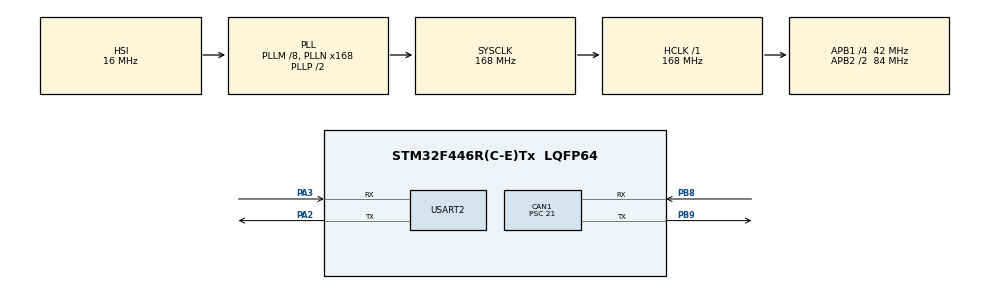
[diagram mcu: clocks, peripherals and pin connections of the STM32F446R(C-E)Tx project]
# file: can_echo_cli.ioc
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CAN1.ABOM=DISABLE
CAN1.BS1=CAN_BS1_14TQ
CAN1.BS2=CAN_BS2_5TQ
CAN1.CalculateBaudRate=100000
CAN1.CalculateTimeBit=10000
CAN1.CalculateTimeQuantum=500.0
CAN1.Mode=CAN_MODE_NORMAL
CAN1.NART=ENABLE
CAN1.Prescaler=21
Mcu.Family=STM32F4
Mcu.Name=STM32F446R(C-E)Tx
Mcu.Package=LQFP64
NVIC.CAN1_RX0_IRQn=true\:0\:0\:false\:false\:true\:true\:true\:true
NVIC.CAN1_RX1_IRQn=true\:0\:0\:false\:false\:true\:true\:true\:true
NVIC.CAN1_TX_IRQn=true\:0\:0\:false\:false\:true\:true\:true\:true
NVIC.PriorityGroup=NVIC_PRIORITYGROUP_4
PA2.Mode=Asynchronous
PA2.Signal=USART2_TX
PA3.Mode=Asynchronous
PA3.Signal=USART2_RX
PB8.GPIO_PuPd=GPIO_PULLUP
PB8.Mode=CAN_Activate
PB8.Signal=CAN1_RX
PB9.GPIO_PuPd=GPIO_PULLUP
PB9.Mode=CAN_Activate
PB9.Signal=CAN1_TX
PC14-OSC32_IN.Mode=LSE-External-Oscillator
PC14-OSC32_IN.Signal=RCC_OSC32_IN
PC15-OSC32_OUT.Mode=LSE-External-Oscillator
PC15-OSC32_OUT.Signal=RCC_OSC32_OUT
PH0-OSC_IN.Mode=HSE-External-Oscillator
PH0-OSC_IN.Signal=RCC_OSC_IN
PH1-OSC_OUT.Mode=HSE-External-Oscillator
PH1-OSC_OUT.Signal=RCC_OSC_OUT
ProjectManager.HeapSize=0x200
ProjectManager.StackSize=0x400
ProjectManager.TargetToolchain=STM32CubeIDE
RCC.AHBFreq_Value=168000000
RCC.APB1CLKDivider=RCC_HCLK_DIV4
RCC.APB1Freq_Value=42000000
RCC.APB1TimFreq_Value=84000000
RCC.APB2CLKDivider=RCC_HCLK_DIV2
RCC.APB2Freq_Value=84000000
RCC.APB2TimFreq_Value=168000000
RCC.CortexFreq_Value=168000000
RCC.HCLKFreq_Value=168000000
RCC.HSE_VALUE=8000000
RCC.PLLM=8
RCC.PLLN=168
RCC.SYSCLKFreq_VALUE=168000000
RCC.SYSCLKSource=RCC_SYSCLKSOURCE_PLLCLK
RCC.USBFreq_Value=168000000
RCC.VCOOutputFreq_Value=336000000
USART2.VirtualMode=VM_ASYNC
board=custom

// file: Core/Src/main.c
/* USER CODE BEGIN Header */
/**
  ******************************************************************************
  * @file           : main.c
  * @brief          : Main program body
  ******************************************************************************
  * @attention
  *
  * Copyright (c) 2022 STMicroelectronics.
  * All rights reserved.
  *
  * This software is licensed under terms that can be found in the LICENSE file
  * in the root directory of this software component.
  * If no LICENSE file comes with this software, it is provided AS-IS.
  *
  ******************************************************************************
  */
/* USER CODE END Header */
#include "main.h"

CAN_HandleTypeDef hcan1;

UART_HandleTypeDef huart2;

/* USER CODE BEGIN PV */
uint8_t hello[8] = {72, 101, 108, 108, 111, 13, 10, 0};

CAN_TxHeaderTypeDef   TxHeader;
CAN_RxHeaderTypeDef   RxHeader;
uint8_t               TxData[8];
uint8_t               RxData[8];
uint32_t              TxMailbox;
CAN_FilterTypeDef     sFilterConfig;
/* USER CODE END PV */

void SystemClock_Config(void);
static void MX_GPIO_Init(void);
static void MX_CAN1_Init(void);
static void MX_USART2_UART_Init(void);
/* USER CODE BEGIN PFP */
void CanSendMssg(uint8_t len, uint8_t data[len]);
void CanRecvMssg(void);
void HAL_CAN_RxFifo0MsgPendingCallback(CAN_HandleTypeDef *hcan);
/* USER CODE END PFP */

int main(void)
{

  /* MCU Configuration--------------------------------------------------------*/

  /* Reset of all peripherals, Initializes the Flash interface and the Systick. */
  HAL_Init();

  /* Configure the system clock */
  SystemClock_Config();

  /* Initialize all configured peripherals */
  MX_GPIO_Init();
  MX_CAN1_Init();
  MX_USART2_UART_Init();

  /* Infinite loop */
  /* USER CODE BEGIN WHILE */
  CanSendMssg(8, hello);
  uint8_t nomssg[8] = {78, 79, 77, 83, 83, 13, 10, 0};
  uint32_t a = 0;
  while (1)
  {
	  /*
	  if (HAL_CAN_GetRxFifoFillLevel(&hcan1, CAN_RX_FIFO0) == 0) {
		  HAL_UART_Transmit(&huart2, nomssg, 8, 10);
		  while (HAL_CAN_GetRxFifoFillLevel(&hcan1, CAN_RX_FIFO0) == 0) {}
	  }
	  */
	  a = HAL_CAN_IsSleepActive(&hcan1);
	  if (a == 1U) HAL_UART_Transmit(&huart2, nomssg, 8, 10);
	  CanSendMssg(8, hello);
	  HAL_Delay(50);
    /* USER CODE END WHILE */

  }
}

void SystemClock_Config(void)
{
  RCC_OscInitTypeDef RCC_OscInitStruct = {0};
  RCC_ClkInitTypeDef RCC_ClkInitStruct = {0};

  /** Configure the main internal regulator output voltage
  */
  __HAL_RCC_PWR_CLK_ENABLE();
  __HAL_PWR_VOLTAGESCALING_CONFIG(PWR_REGULATOR_VOLTAGE_SCALE1);

  /** Initializes the RCC Oscillators according to the specified parameters
  * in the RCC_OscInitTypeDef structure.
  */
  RCC_OscInitStruct.OscillatorType = RCC_OSCILLATORTYPE_HSI;
  RCC_OscInitStruct.HSIState = RCC_HSI_ON;
  RCC_OscInitStruct.HSICalibrationValue = RCC_HSICALIBRATION_DEFAULT;
  RCC_OscInitStruct.PLL.PLLState = RCC_PLL_ON;
  RCC_OscInitStruct.PLL.PLLSource = RCC_PLLSOURCE_HSI;
  RCC_OscInitStruct.PLL.PLLM = 8;
  RCC_OscInitStruct.PLL.PLLN = 168;
  RCC_OscInitStruct.PLL.PLLP = RCC_PLLP_DIV2;
  RCC_OscInitStruct.PLL.PLLQ = 2;
  RCC_OscInitStruct.PLL.PLLR = 2;
  if (HAL_RCC_OscConfig(&RCC_OscInitStruct) != HAL_OK)
  {
    Error_Handler();
  }

  /** Initializes the CPU, AHB and APB buses clocks
  */
  RCC_ClkInitStruct.ClockType = RCC_CLOCKTYPE_HCLK|RCC_CLOCKTYPE_SYSCLK
                              |RCC_CLOCKTYPE_PCLK1|RCC_CLOCKTYPE_PCLK2;
  RCC_ClkInitStruct.SYSCLKSource = RCC_SYSCLKSOURCE_PLLCLK;
  RCC_ClkInitStruct.AHBCLKDivider = RCC_SYSCLK_DIV1;
  RCC_ClkInitStruct.APB1CLKDivider = RCC_HCLK_DIV4;
  RCC_ClkInitStruct.APB2CLKDivider = RCC_HCLK_DIV2;

  if (HAL_RCC_ClockConfig(&RCC_ClkInitStruct, FLASH_LATENCY_5) != HAL_OK)
  {
    Error_Handler();
  }
}

static void MX_CAN1_Init(void)
{

  hcan1.Instance = CAN1;
  hcan1.Init.Prescaler = 21;
  hcan1.Init.Mode = CAN_MODE_NORMAL;
  hcan1.Init.SyncJumpWidth = CAN_SJW_1TQ;
  hcan1.Init.TimeSeg1 = CAN_BS1_14TQ;
  hcan1.Init.TimeSeg2 = CAN_BS2_5TQ;
  hcan1.Init.TimeTriggeredMode = DISABLE;
  hcan1.Init.AutoBusOff = DISABLE;
  hcan1.Init.AutoWakeUp = DISABLE;
  hcan1.Init.AutoRetransmission = ENABLE;
  hcan1.Init.ReceiveFifoLocked = DISABLE;
  hcan1.Init.TransmitFifoPriority = DISABLE;
  if (HAL_CAN_Init(&hcan1) != HAL_OK)
  {
    Error_Handler();
  }
  /* USER CODE BEGIN CAN1_Init 2 */
  	sFilterConfig.FilterBank = 18;
    sFilterConfig.FilterMode = CAN_FILTERMODE_IDMASK;
    sFilterConfig.FilterScale = CAN_FILTERSCALE_32BIT;
    sFilterConfig.FilterIdHigh = 0x0000 << 5;
    sFilterConfig.FilterIdLow = 0x0000;
    sFilterConfig.FilterMaskIdHigh = 0x0000 << 5;
    sFilterConfig.FilterMaskIdLow = 0x0000;
    sFilterConfig.FilterFIFOAssignment = CAN_FILTER_FIFO0;
    sFilterConfig.FilterActivation = CAN_FILTER_ENABLE;
    sFilterConfig.SlaveStartFilterBank = 20;

    /*
    if(HAL_CAN_ConfigFilter(&hcan1, &sFilterConfig) != HAL_OK)
    {
      Error_Handler();
    }
    */

    if (HAL_CAN_Start(&hcan1) != HAL_OK)
    {
      /* Start Error */
      Error_Handler();
    }

    if (HAL_CAN_ActivateNotification(&hcan1, CAN_IT_RX_FIFO0_MSG_PENDING) != HAL_OK)
    {
      /* Notification Error */
      Error_Handler();
    }
  /* USER CODE END CAN1_Init 2 */

}

static void MX_USART2_UART_Init(void)
{

  huart2.Instance = USART2;
  huart2.Init.BaudRate = 115200;
  huart2.Init.WordLength = UART_WORDLENGTH_8B;
  huart2.Init.StopBits = UART_STOPBITS_1;
  huart2.Init.Parity = UART_PARITY_NONE;
  huart2.Init.Mode = UART_MODE_TX_RX;
  huart2.Init.HwFlowCtl = UART_HWCONTROL_NONE;
  huart2.Init.OverSampling = UART_OVERSAMPLING_16;
  if (HAL_UART_Init(&huart2) != HAL_OK)
  {
    Error_Handler();
  }

}

static void MX_GPIO_Init(void)
{

  /* GPIO Ports Clock Enable */
  __HAL_RCC_GPIOC_CLK_ENABLE();
  __HAL_RCC_GPIOH_CLK_ENABLE();
  __HAL_RCC_GPIOA_CLK_ENABLE();
  __HAL_RCC_GPIOB_CLK_ENABLE();

}

/* USER CODE BEGIN 4 */
void CanSendMssg(uint8_t len, uint8_t data[len]) {
	  TxHeader.StdId = 0x321;
	  TxHeader.ExtId = 0x01;
	  TxHeader.RTR = CAN_RTR_DATA;
	  TxHeader.IDE = CAN_ID_STD;
	  TxHeader.DLC = 8;
	  TxHeader.TransmitGlobalTime = DISABLE;
	  TxData[0] = 0xCA;
	  TxData[1] = 0xFE;
	  TxData[2] = 0;
	  TxData[3] = 0;
	  TxData[4] = 0;
	  TxData[5] = 0;
	  TxData[6] = 0;
	  TxData[7] = 0;

	  uint8_t trysend[10] = {84, 82, 89, 83, 69, 78, 68, 13, 10, 0};
	  HAL_UART_Transmit(&huart2, trysend, 10, 10);

	  uint8_t txbox[7] = {84, 88, 66, 88, 13, 10, 0};
	  if(HAL_CAN_GetTxMailboxesFreeLevel(&hcan1) == 0) {
		  HAL_UART_Transmit(&huart2, txbox, 7, 10);
		  return;
	  }

	  uint8_t sendfail[11] = {83, 69, 78, 68, 70, 65, 73, 76, 13, 10, 0};
	  if(HAL_CAN_AddTxMessage(&hcan1, &TxHeader, TxData, &TxMailbox) != HAL_OK)
	  {
	    /* Transmission request Error */
		HAL_UART_Transmit(&huart2, sendfail, 11, 10);
	  }

	  uint8_t pend[7] = {80, 69, 78, 68, 13, 10, 0};
	  while(HAL_CAN_GetTxMailboxesFreeLevel(&hcan1) != 3) {
	  		HAL_UART_Transmit(&huart2, pend, 7, 10);
	  }

	  //return HAL_OK; /* Test Passed */
}

void CanRecvMssg(void) {
	uint8_t aa[7] = {70, 70, 70, 70, 13, 10, 0};
	if(HAL_CAN_GetRxFifoFillLevel(&hcan1, CAN_RX_FIFO0) == 0)
	{
		HAL_UART_Transmit(&huart2, aa, 7, 10);
	}

	uint8_t recvfail[11] = {82, 69, 67, 86, 70, 65, 73, 76, 13, 10, 0};
	if(HAL_CAN_GetRxMessage(&hcan1, CAN_RX_FIFO0, &RxHeader, RxData) != HAL_OK)
	{
	    /* Reception Error */
		HAL_UART_Transmit(&huart2, recvfail, 11, 10);
	}

	if((RxHeader.StdId != 0x11)                     ||
	   (RxHeader.RTR != CAN_RTR_DATA)               ||
	   (RxHeader.IDE != CAN_ID_STD)                 ||
	   (RxHeader.DLC != 2))
	{
	    /* Rx message Error */
		//return HAL_ERROR;
	}

	HAL_UART_Transmit(&huart2, RxData, 8, 10);

	//return HAL_OK; /* Test Passed */
}

void HAL_CAN_RxFifo0MsgPendingCallback(CAN_HandleTypeDef *hcan)
{
	uint8_t gotit[8] = {71, 79, 84, 73, 84, 13, 10, 0};
	HAL_UART_Transmit(&huart2, gotit, 8, 10);
	CanRecvMssg();
	CanSendMssg(8, hello);
}
/* USER CODE END 4 */

void Error_Handler(void)
{
  __disable_irq();
  while (1)
  {
  }
}
